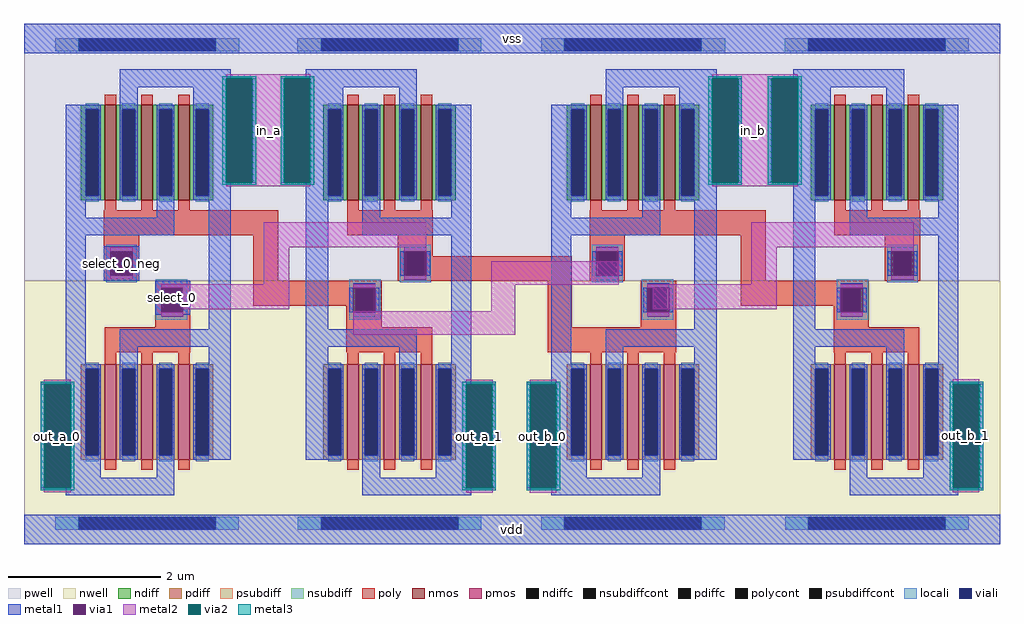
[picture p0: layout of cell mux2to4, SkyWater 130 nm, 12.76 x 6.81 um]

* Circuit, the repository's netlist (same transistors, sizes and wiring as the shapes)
**.subckt mux2to4 in_a in_b selec_0_neg selec_0 out_b_0 out_b_1 out_a_0 out_a_1 vdd vss
*.iopin in_a
*.iopin in_b
*.ipin selec_0_neg
*.ipin selec_0
*.iopin out_b_0
*.iopin out_b_1
*.iopin out_a_0
*.iopin out_a_1
*.iopin vdd
*.iopin vss
x4 selec_0 out_a_1 in_a selec_0_neg vss vdd trans_gate_mux2to8
x5 selec_0_neg out_a_0 in_a selec_0 vss vdd trans_gate_mux2to8
x8 selec_0 out_b_1 in_b selec_0_neg vss vdd trans_gate_mux2to8
x9 selec_0_neg out_b_0 in_b selec_0 vss vdd trans_gate_mux2to8
**.ends

* expanding   symbol:  trans_gate_mux2to8.sym # of pins=6
* sym_path: /home/dhernando/caravel_analog_fulgor/xschem/trans_gate_mux2to8.sym
* sch_path: /home/dhernando/caravel_analog_fulgor/xschem/trans_gate_mux2to8.sch
.subckt trans_gate_mux2to8  en_pos out in en_neg vss vdd
*.iopin en_neg
*.ipin in
*.opin out
*.iopin en_pos
*.iopin vdd
*.iopin vss
XM2 out en_neg in vdd sky130_fd_pr__pfet_01v8 L=0.15 W=1.25 nf=1 ad='int((nf+1)/2) * W/nf * 0.29' as='int((nf+2)/2) * W/nf * 0.29'
+ pd='2*int((nf+1)/2) * (W/nf + 0.29)' ps='2*int((nf+2)/2) * (W/nf + 0.29)' nrd='0.29 / W' nrs='0.29 / W'
+ sa=0 sb=0 sd=0 mult=3 m=3 
XM1 out en_pos in vss sky130_fd_pr__nfet_01v8 L=0.15 W=1.25 nf=1 ad='int((nf+1)/2) * W/nf * 0.29' as='int((nf+2)/2) * W/nf * 0.29'
+ pd='2*int((nf+1)/2) * (W/nf + 0.29)' ps='2*int((nf+2)/2) * (W/nf + 0.29)' nrd='0.29 / W' nrs='0.29 / W'
+ sa=0 sb=0 sd=0 mult=3 m=3 
.ends

** flattened .save nodes
.end

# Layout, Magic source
magic
tech sky130A
magscale 1 2
<< poly >>
rect 420 -552 654 -486
rect 1659 -552 1929 -486
rect 588 -670 654 -552
rect 1056 -670 1421 -607
rect 588 -736 833 -670
rect 1358 -792 1421 -670
rect 1863 -670 1929 -552
rect 1863 -736 2108 -670
rect 1358 -858 1509 -792
<< metal1 >>
rect -11 -76 2541 2
rect 198 -670 290 -580
rect 332 -760 424 -670
rect -11 -1360 2541 -1282
<< metal2 >>
rect 586 -424 670 -131
rect 1849 -424 1945 -131
rect 616 -583 1041 -517
rect 1891 -583 2316 -517
rect 616 -679 682 -583
rect 404 -745 682 -679
rect 1211 -681 1544 -619
rect 1891 -679 1957 -583
rect 1211 -750 1273 -681
rect 1633 -745 1957 -679
rect 850 -812 1273 -750
rect 41 -1224 111 -929
rect 1145 -1225 1215 -930
rect 1311 -1225 1381 -930
rect 2417 -1223 2487 -928
use trans_gate_mux2to8  trans_gate_mux2to8_3
transform -1 0 2477 0 -1 -723
box -64 -725 579 637
use trans_gate_mux2to8  trans_gate_mux2to8_2
transform 1 0 1323 0 -1 -723
box -64 -725 579 637
use trans_gate_mux2to8  trans_gate_mux2to8_1
transform -1 0 1203 0 -1 -723
box -64 -725 579 637
use trans_gate_mux2to8  trans_gate_mux2to8_0
transform 1 0 53 0 -1 -723
box -64 -725 579 637
<< labels >>
rlabel metal2 586 -424 670 -131 1 in_a
rlabel metal2 1849 -424 1945 -131 1 in_b
rlabel metal1 -11 -76 2541 2 1 vss
rlabel metal1 -11 -1360 2541 -1282 1 vdd
rlabel metal2 41 -1224 111 -929 1 out_a_0
rlabel metal2 1145 -1225 1215 -930 1 out_a_1
rlabel metal2 1311 -1225 1381 -930 1 out_b_0
rlabel metal2 2417 -1223 2487 -928 1 out_b_1
rlabel metal1 198 -670 290 -580 1 select_0_neg
rlabel metal1 332 -760 424 -670 1 select_0
<< end >>

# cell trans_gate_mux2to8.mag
magic
tech sky130A
magscale 1 2
<< nwell >>
rect -64 618 579 637
rect -64 599 -17 618
rect -64 -47 -40 599
rect 568 -47 579 618
rect -64 -53 579 -47
<< pwell >>
rect -64 -725 579 -53
<< poly >>
rect 147 69 371 135
rect 279 30 371 69
rect 279 -34 301 30
rect 347 -34 371 30
rect 279 -53 371 -34
rect 145 -66 237 -53
rect 145 -130 168 -66
rect 214 -130 237 -66
rect 145 -171 237 -130
rect 145 -237 369 -171
<< polycont >>
rect 301 -34 347 30
rect 168 -130 214 -66
<< locali >>
rect 281 30 363 50
rect 281 -34 301 30
rect 347 -34 363 30
rect 151 -66 231 -48
rect 281 -57 363 -34
rect 151 -130 168 -66
rect 214 -130 231 -66
rect 151 -147 231 -130
<< viali >>
rect 79 565 437 599
rect 301 -34 347 30
rect 168 -130 214 -66
rect 79 -687 437 -653
<< metal1 >>
rect 67 599 449 605
rect 67 565 79 599
rect 437 565 449 599
rect 67 559 449 565
rect 45 490 329 508
rect -20 217 -10 490
rect 58 462 329 490
rect 58 404 137 462
rect 283 404 329 462
rect 58 217 97 404
rect 45 -171 97 217
rect 425 183 477 416
rect 187 120 233 178
rect 419 120 477 183
rect 187 74 477 120
rect 295 30 353 42
rect 285 -34 295 30
rect 353 -34 363 30
rect 295 -46 353 -34
rect 162 -66 220 -54
rect 152 -130 162 -66
rect 220 -130 230 -66
rect 162 -142 220 -130
rect 45 -217 329 -171
rect 45 -341 97 -217
rect 283 -263 329 -217
rect 419 -309 477 74
rect 45 -513 91 -341
rect 419 -343 465 -309
rect 425 -455 465 -343
rect 419 -501 465 -455
rect 187 -559 233 -513
rect 379 -559 465 -501
rect 187 -582 465 -559
rect 533 -582 543 -309
rect 187 -605 477 -582
rect 67 -653 449 -647
rect 67 -687 79 -653
rect 437 -687 449 -653
rect 67 -693 449 -687
<< via1 >>
rect -10 217 58 490
rect 295 -34 301 30
rect 301 -34 347 30
rect 347 -34 353 30
rect 162 -130 168 -66
rect 168 -130 214 -66
rect 214 -130 220 -66
rect 465 -582 533 -309
<< metal2 >>
rect -10 490 58 500
rect -10 207 58 217
rect 295 30 353 40
rect 295 -44 353 -34
rect 162 -66 220 -56
rect 162 -140 220 -130
rect 465 -309 533 -299
rect 465 -592 533 -582
<< via2 >>
rect -10 217 58 490
rect 465 -582 533 -309
<< metal3 >>
rect -20 490 68 495
rect -20 217 -10 490
rect 58 217 68 490
rect -20 212 68 217
rect 455 -309 543 -304
rect 455 -582 465 -309
rect 533 -582 543 -309
rect 455 -587 543 -582
use sky130_fd_pr__pfet_01v8_4798MH  sky130_fd_pr__pfet_01v8_4798MH_0
transform 1 0 258 0 1 291
box -311 -338 311 344
use sky130_fd_pr__nfet_01v8_BHR94T  sky130_fd_pr__nfet_01v8_BHR94T_0
transform 1 0 258 0 1 -388
box -311 -335 311 324
<< labels >>
rlabel metal1 67 -653 449 -647 1 vss
rlabel metal1 67 559 449 565 1 vdd
rlabel poly 279 -53 371 135 1 en_neg
rlabel poly 145 -237 237 -53 1 en_pos
rlabel metal1 419 -309 477 183 1 in
rlabel metal1 45 -341 97 217 1 out
<< end >>

# cell sky130_fd_pr__pfet_01v8_4798MH: kit device sky130_fd_pr__pfet_01v8, w 1.25 l 0.15 m 1 nf 3 diffcov 100 polycov 100 guard 1 glc 1 grc 1 gtc 1 gbc 0 tbcov 100 rlcov 100 topc 1 botc 1 poverlap 0 doverlap 1 lmin 0.15 wmin 0.42 compatible {sky130_fd_pr__pfet_01v8 sky130_fd_pr__pfet_01v8_lvt sky130_fd_pr__pfet_01v8_hvt sky130_fd_pr__pfet_g5v0d10v5} full_metal 1 viasrc 100 viadrn 100 viagate 100 viagb 0 viagr 0 viagl 0 viagt 0

# cell sky130_fd_pr__nfet_01v8_BHR94T: kit device sky130_fd_pr__nfet_01v8, w 1.25 l 0.150 m 1 nf 3 diffcov 100 polycov 100 guard 1 glc 1 grc 1 gtc 1 gbc 1 tbcov 100 rlcov 100 topc 1 botc 1 poverlap 0 doverlap 1 lmin 0.15 wmin 0.42 compatible {sky130_fd_pr__nfet_01v8 sky130_fd_pr__nfet_01v8_lvt sky130_fd_bs_flash__special_sonosfet_star sky130_fd_pr__nfet_g5v0d10v5 sky130_fd_pr__nfet_05v0_nvt sky130_fd_pr__nfet_03v3_nvt} full_metal 1 viasrc 100 viadrn 100 viagate 100 viagb 0 viagr 0 viagl 0 viagt 0
